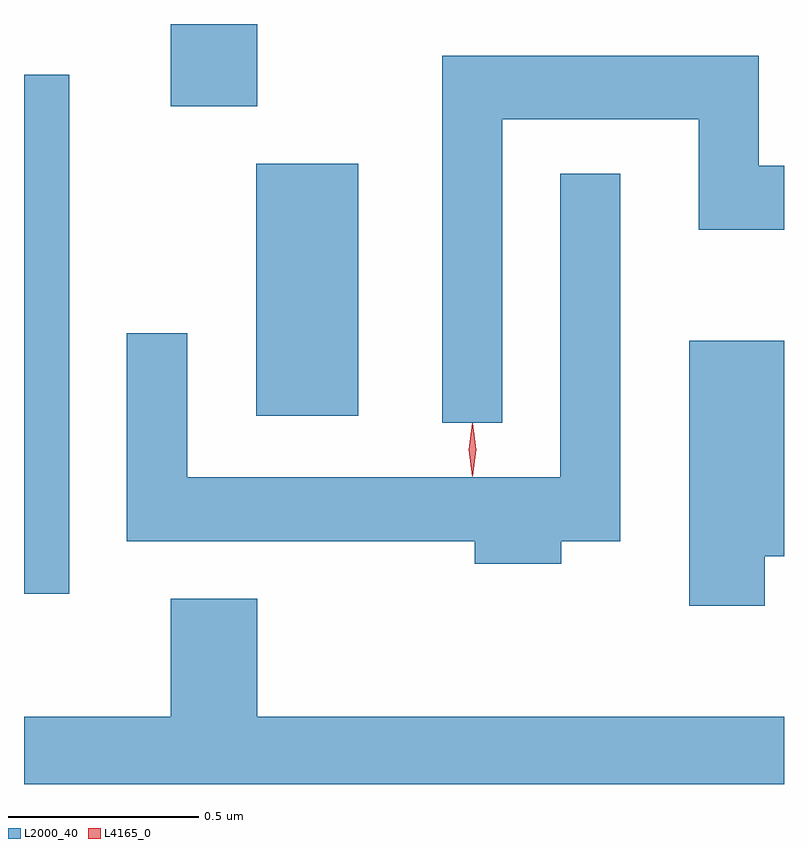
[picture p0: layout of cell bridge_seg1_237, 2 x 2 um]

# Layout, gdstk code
import gdstk
lib = gdstk.Library(unit=1e-6, precision=1e-09)
def R(c, l, rs):  # rectangles x0, y0, x1, y1
    for r in rs: c.add(gdstk.rectangle(r[:2], r[2:], *l))
def P(c, l, *ps):  # polygons
    for p in ps: c.add(gdstk.Polygon(p, *l))
L2000_40 = (2000, 40)
L4165_0 = (4165, 0)

bridge_seg1_237 = lib.new_cell('bridge_seg1_237')
R(bridge_seg1_237, L2000_40, [(836.255,895.728,836.374,897.094), (836.866,896.196,837.134,896.859), (836.641,897.011,836.869,897.227)])
P(bridge_seg1_237, L2000_40, [(837.514,896.976),(838.031,896.976),(838.031,896.686),(838.255,896.686),(838.255,896.854),(838.189,896.854),(838.189,897.144),(837.356,897.144),(837.356,896.178),(837.514,896.178)],
  [(837.669,895.866),(837.824,895.866),(837.824,896.833),(837.666,896.833),(837.666,896.034),(836.684,896.034),(836.684,896.413),(836.526,896.413),(836.526,895.866),(837.441,895.866),(837.441,895.806),(837.669,895.806)],
  [(838.204,895.826),(838.255,895.826),(838.255,896.394),(838.006,896.394),(838.006,895.696),(838.204,895.696)],
  [(838.255,895.404),(836.869,895.404),(836.869,895.714),(836.641,895.714),(836.641,895.404),(836.255,895.404),(836.255,895.227),(838.255,895.227)])
P(bridge_seg1_237, L4165_0, [(837.434,896.037),(837.425,896.106),(837.434,896.176),(837.435,896.176),(837.436,896.176),(837.445,896.106),(837.436,896.037),(837.435,896.037)],
  [(837.435,896.039),(837.434,896.04),(837.425,896.106),(837.434,896.172),(837.435,896.173),(837.435,896.172),(837.445,896.106),(837.435,896.04)])

lib.write_gds('bridge_seg1_237.gds')
